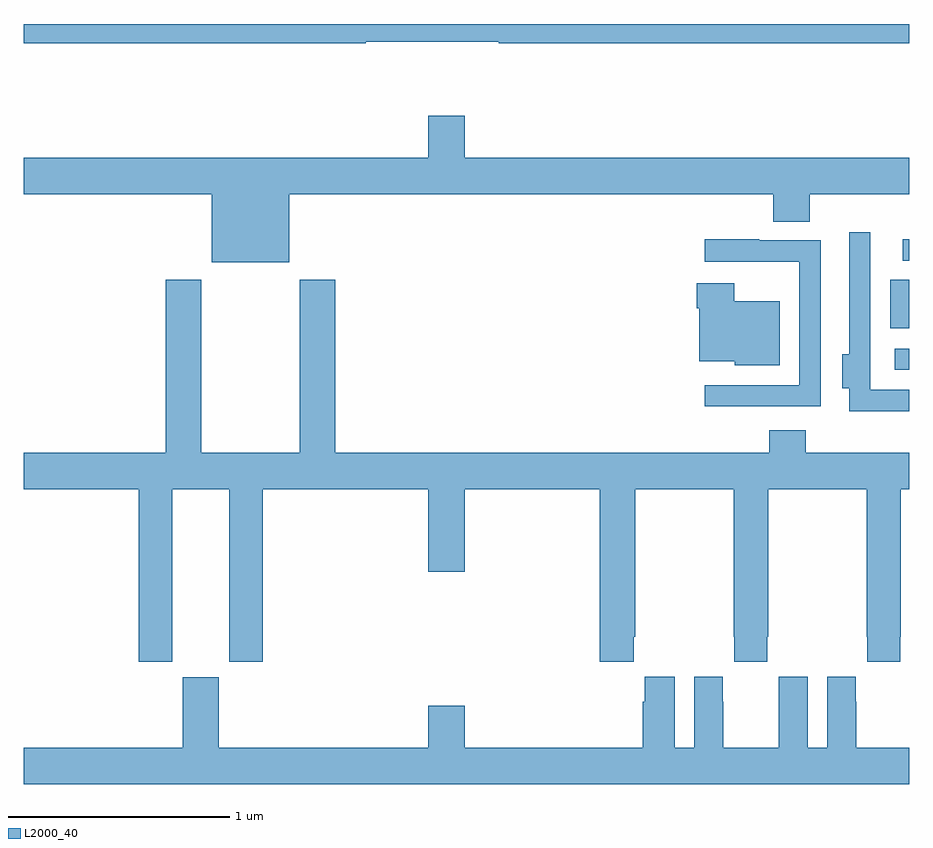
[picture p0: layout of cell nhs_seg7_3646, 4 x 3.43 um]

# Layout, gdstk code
import gdstk
lib = gdstk.Library(unit=1e-6, precision=1e-09)
def R(c, l, rs):  # rectangles x0, y0, x1, y1
    for r in rs: c.add(gdstk.rectangle(r[:2], r[2:], *l))
def P(c, l, *ps):  # polygons
    for p in ps: c.add(gdstk.Polygon(p, *l))
L2000_40 = (2000, 40)

nhs_seg7_3646 = lib.new_cell('nhs_seg7_3646')
R(nhs_seg7_3646, L2000_40, [(346.935,1050.438,347,1050.534), (346.913,1050.626,347,1050.845), (346.971,1050.93,347,1051.028)])
P(nhs_seg7_3646, L2000_40, [(344.545,1051.92),(345.145,1051.92),(345.145,1051.912),(347,1051.912),(347,1052),(343,1052),(343,1051.912),(344.545,1051.912)],
  [(344.2,1051.232),(346.385,1051.232),(346.385,1051.108),(346.55,1051.108),(346.55,1051.232),(347,1051.232),(347,1051.396),(344.992,1051.396),(344.992,1051.585),(344.828,1051.585),(344.828,1051.396),(343,1051.396),(343,1051.232),(343.85,1051.232),(343.85,1050.923),(344.2,1050.923)],
  [(347,1050.348),(346.824,1050.348),(346.824,1051.06),(346.728,1051.06),(346.728,1050.509),(346.697,1050.509),(346.697,1050.356),(346.728,1050.356),(346.728,1050.251),(347,1050.251)],
  [(346.599,1051.023),(346.321,1051.023),(346.321,1051.027),(346.077,1051.027),(346.077,1050.926),(346.503,1050.926),(346.503,1050.369),(346.077,1050.369),(346.077,1050.273),(346.599,1050.273)],
  [(343.672,1049.9),(343.928,1049.9),(343.928,1049.121),(344.081,1049.121),(344.081,1049.9),(344.828,1049.9),(344.828,1049.526),(344.992,1049.526),(344.992,1049.9),(345.602,1049.9),(345.602,1049.121),(345.755,1049.121),(345.755,1049.233),(345.762,1049.233),(345.762,1049.9),(346.207,1049.9),(346.207,1049.233),(346.209,1049.233),(346.209,1049.121),(346.359,1049.121),(346.359,1049.233),(346.362,1049.233),(346.362,1049.9),(346.807,1049.9),(346.807,1049.233),(346.809,1049.233),(346.809,1049.121),(346.959,1049.121),(346.959,1049.233),(346.962,1049.233),(346.962,1049.9),(347,1049.9),(347,1050.064),(346.532,1050.064),(346.532,1050.166),(346.367,1050.166),(346.367,1050.064),(344.408,1050.064),(344.408,1050.844),(344.248,1050.844),(344.248,1050.064),(343.803,1050.064),(343.803,1050.844),(343.643,1050.844),(343.643,1050.064),(343,1050.064),(343,1049.9),(343.52,1049.9),(343.52,1049.121),(343.672,1049.121)],
  [(346.414,1050.748),(346.21,1050.748),(346.21,1050.829),(346.04,1050.829),(346.04,1050.716),(346.052,1050.716),(346.052,1050.476),(346.212,1050.476),(346.212,1050.458),(346.414,1050.458)],
  [(347,1048.732),(346.759,1048.732),(346.759,1048.94),(346.758,1048.94),(346.758,1049.053),(346.628,1049.053),(346.628,1048.732),(346.54,1048.732),(346.54,1049.053),(346.41,1049.053),(346.41,1048.94),(346.409,1048.94),(346.409,1048.732),(346.159,1048.732),(346.159,1048.94),(346.158,1048.94),(346.158,1049.053),(346.028,1049.053),(346.028,1048.732),(345.94,1048.732),(345.94,1049.053),(345.806,1049.053),(345.806,1048.94),(345.797,1048.94),(345.797,1048.732),(344.992,1048.732),(344.992,1048.921),(344.828,1048.921),(344.828,1048.732),(343.882,1048.732),(343.882,1049.049),(343.718,1049.049),(343.718,1048.732),(343,1048.732),(343,1048.568),(347,1048.568)])

lib.write_gds('nhs_seg7_3646.gds')
